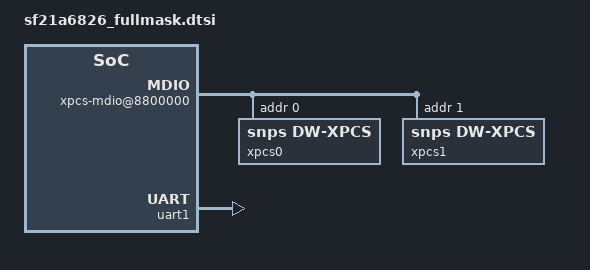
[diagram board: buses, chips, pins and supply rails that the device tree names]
// SPDX-License-Identifier: GPL-2.0
#include <dt-bindings/gpio/gpio.h>
#include <dt-bindings/pinctrl/sf21h8898-fullmask-iomux.h>

/ {
	compatible = "siflower,sf21a6826";
	#address-cells = <2>;
	#size-cells = <2>;

	aliases {
		serial0 = &uart0;
		serial1 = &uart1;
	};

	chosen {
		stdout-path = "serial1:115200n8";
	};


	cpus: cpus {
		#address-cells = <1>;
		#size-cells = <0>;
		timebase-frequency = <1125000000>;

		cpu@0 {
			compatible = "thead,c908", "riscv";
			device_type = "cpu";
			riscv,isa = "rv64imafdc_svpbmt_zba_zbb_zbc_zbs_zicbom_zicbop_zicboz";
			riscv,isa-base = "rv64i";
			riscv,isa-extensions = "i", "m", "a", "f", "d", "c",
						"sstc", "svnapot", "svpbmt", "zba", "zbb", "zbc", "zbs", "zicbom", "zicbop", "zicboz", "zicntr", "zicsr", "zifencei", "zihintpause", "zihpm";
			reg = <0>;
			i-cache-block-size = <64>;
			i-cache-size = <32768>;
			i-cache-sets = <128>;
			d-cache-block-size = <64>;
			d-cache-size = <32768>;
			d-cache-sets = <128>;
			next-level-cache = <&L2>;
			mmu-type = "riscv,sv39";

			cpu0_intc: interrupt-controller {
				#interrupt-cells = <1>;
				compatible = "riscv,cpu-intc";
				interrupt-controller;
			};
		};

		cpu@1 {
			compatible = "thead,c908", "riscv";
			device_type = "cpu";
			riscv,isa = "rv64imafdc_svpbmt_zba_zbb_zbc_zbs_zicbom_zicbop_zicboz";
			riscv,isa-base = "rv64i";
			riscv,isa-extensions = "i", "m", "a", "f", "d", "c",
						"sstc", "svnapot", "svpbmt", "zba", "zbb", "zbc", "zbs", "zicbom", "zicbop", "zicboz", "zicntr", "zicsr", "zifencei", "zihintpause", "zihpm";
			reg = <1>;
			i-cache-block-size = <64>;
			i-cache-size = <32768>;
			i-cache-sets = <128>;
			d-cache-block-size = <64>;
			d-cache-size = <32768>;
			d-cache-sets = <128>;
			next-level-cache = <&L2>;
			mmu-type = "riscv,sv39";

			cpu1_intc: interrupt-controller {
				#interrupt-cells = <1>;
				compatible = "riscv,cpu-intc";
				interrupt-controller;
			};
		};

		cpu@2 {
			compatible = "thead,c908", "riscv";
			device_type = "cpu";
			riscv,isa = "rv64imafdc_svpbmt_zba_zbb_zbc_zbs_zicbom_zicbop_zicboz";
			riscv,isa-base = "rv64i";
			riscv,isa-extensions = "i", "m", "a", "f", "d", "c",
						"sstc", "svnapot", "svpbmt", "zba", "zbb", "zbc", "zbs", "zicbom", "zicbop", "zicboz", "zicntr", "zicsr", "zifencei", "zihintpause", "zihpm";
			reg = <2>;
			i-cache-block-size = <64>;
			i-cache-size = <32768>;
			i-cache-sets = <128>;
			d-cache-block-size = <64>;
			d-cache-size = <32768>;
			d-cache-sets = <128>;
			next-level-cache = <&L2>;
			mmu-type = "riscv,sv39";

			cpu2_intc: interrupt-controller {
				#interrupt-cells = <1>;
				compatible = "riscv,cpu-intc";
				interrupt-controller;
			};
		};

		cpu@3 {
			compatible = "thead,c908", "riscv";
			device_type = "cpu";
			riscv,isa = "rv64imafdc_svpbmt_zba_zbb_zbc_zbs_zicbom_zicbop_zicboz";
			riscv,isa-base = "rv64i";
			riscv,isa-extensions = "i", "m", "a", "f", "d", "c",
						"sstc", "svnapot", "svpbmt", "zba", "zbb", "zbc", "zbs", "zicbom", "zicbop", "zicboz", "zicntr", "zicsr", "zifencei", "zihintpause", "zihpm";
			reg = <3>;
			i-cache-block-size = <64>;
			i-cache-size = <32768>;
			i-cache-sets = <128>;
			d-cache-block-size = <64>;
			d-cache-size = <32768>;
			d-cache-sets = <128>;
			next-level-cache = <&L2>;
			mmu-type = "riscv,sv39";

			cpu3_intc: interrupt-controller {
				#interrupt-cells = <1>;
				compatible = "riscv,cpu-intc";
				interrupt-controller;
			};
		};

		L2: l2-cache {
			compatible = "cache";
			cache-level = <2>;
			cache-block-size = <64>;
			cache-size = <262144>;
			cache-sets = <256>;
			cache-unified;
		};
	};

	pmu {
		compatible = "riscv,pmu";
		riscv,event-to-mhpmevent =
			<0x00003 0x0 0x9b>, // L1 Dcache Access
			<0x00004 0x0 0x9c>, // L1 Dcache Miss
			<0x00005 0x0 0x36>, // Branch Instruction
			<0x00006 0x0 0x38>, // Branch Mispred
			<0x00008 0x0 0x27>, // Stalled Cycles Frontend
			<0x00009 0x0 0x28>, // Stalled Cycles Backend
			<0x10000 0x0 0x0c>, // L1-dcache load access
			<0x10001 0x0 0x0d>, // L1-dcache load miss
			<0x10002 0x0 0x0e>, // L1-dcache store access
			<0x10003 0x0 0x0f>, // L1-dcache store miss
			<0x10004 0x0 0xa2>, // Dcache Hit Caused by Prefetch
			<0x10005 0x0 0xa1>, // Dcache Refill Caused by Prefetch
			<0x10008 0x0 0x01>, // L1-icache Access
			<0x10009 0x0 0x02>, // L1-icache Miss
			<0x1000c 0x0 0x9e>, // Icache Prefetch
			<0x1000d 0x0 0xa0>, // Icache Prefetch Miss
			<0x10010 0x0 0xa5>, // L2 Access
			<0x10011 0x0 0xa6>, // L2 Miss
			<0x10019 0x0 0xa4>, // Load Dtlb Miss
			<0x1001b 0x0 0xa3>, // Store Dtlb Miss
			<0x10021 0x0 0x03>; // iTLB Miss
		riscv,event-to-mhpmcounters =
			<0x00001 0x00001 0x00000001>, // cycles
			<0x00002 0x00002 0x00000004>, // instructions
			<0x00003 0x1ffff 0xfffffff8>; // others
		riscv,raw-event-to-mhpmcounters =
			<0x0 0x0 0xffffffff 0xffffff00 0xfffffff8>;
	};

	cpuapb {
		#address-cells = <2>;
		#size-cells = <2>;
		compatible = "simple-bus";
		ranges;

		plic: interrupt-controller@108000000 {
			compatible = "thead,c900-plic";
			reg = <0x1 0x8000000 0x0 0x400000>, <0x0 0x0ce00c34 0x0 0x20>;
			interrupt-controller;
			interrupts-extended = <&cpu0_intc 11>, <&cpu0_intc 9>,
					      <&cpu1_intc 11>, <&cpu1_intc 9>,
					      <&cpu2_intc 11>, <&cpu2_intc 9>,
					      <&cpu3_intc 11>, <&cpu3_intc 9>;
			#interrupt-cells = <2>;
			riscv,ndev = <176>;
		};

		interrupt-controller@10c000000 {
			compatible = "thead,c900-aclint-mswi";
			reg = <0x1 0xc000000 0x0 0x4000>;
			interrupts-extended = <&cpu0_intc 3>, <&cpu1_intc 3>,
					      <&cpu2_intc 3>, <&cpu3_intc 3>;
		};

		timer@10c004000 {
			compatible = "thead,c900-aclint-mtimer";
			reg = <0x1 0xc00bff8 0x0 0x8>, <0x1 0xc004000 0x0 0x7ff8>;
			interrupts-extended = <&cpu0_intc 7>, <&cpu1_intc 7>,
					      <&cpu2_intc 7>, <&cpu3_intc 7>;
		};

		interrupt-controller@10c00c000 {
			compatible = "thead,c900-aclint-sswi";
			reg = <0x1 0xc00c000 0x0 0x1000>;
			interrupts-extended = <&cpu0_intc 1>, <&cpu1_intc 1>,
					      <&cpu2_intc 1>, <&cpu3_intc 1>;
		};
	};

	spi_clk: spi-clk {
		compatible = "fixed-clock";
		#clock-cells = <0>;
		clock-frequency = <200000000>;
	};

	apb_clk: apb-clk {
		compatible = "fixed-clock";
		#clock-cells = <0>;
		clock-frequency = <187500000>;
	};


	timer: timer {
		compatible = "riscv,timer";
	};

	soc: soc {
		compatible = "simple-bus";
		#address-cells = <2>;
		#size-cells = <2>;
		u-boot,dm-pre-reloc;

		gmac0: ethernet@8000000 {
			compatible = "siflower,sf21h8898-xgmac";
			reg = <0x0 0x8000000 0x0 0x4000>;
			phy-mode = "qsgmii";
			pcs-handle = <&xpcs0>;
			pinctrl-names = "default";
			pinctrl-0 = <&mac0_mdio_pins>;
			dmas = <&edma 0>, <&edma 1>;
			status = "disabled";

			mdio0: mdio {
				#address-cells = <1>;
				#size-cells = <0>;
			};
		};

		gmac1: ethernet@8004000 {
			compatible = "siflower,sf21h8898-xgmac";
			reg = <0x0 0x8004000 0x0 0x4000>;
			phy-mode = "qsgmii";
			pcs-handle = <&xpcs0>;
			dmas = <&edma 0>, <&edma 1>;
			status = "disabled";
		};

		gmac2: ethernet@8008000 {
			compatible = "siflower,sf21h8898-xgmac";
			reg = <0x0 0x8008000 0x0 0x4000>;
			phy-mode = "qsgmii";
			pcs-handle = <&xpcs0>;
			dmas = <&edma 0>, <&edma 1>;
			status = "disabled";
		};

		gmac3: ethernet@800c000 {
			compatible = "siflower,sf21h8898-xgmac";
			reg = <0x0 0x800c000 0x0 0x4000>;
			phy-mode = "qsgmii";
			pcs-handle = <&xpcs0>;
			dmas = <&edma 0>, <&edma 1>;
			status = "disabled";
		};

		gmac4: ethernet@8010000 {
			compatible = "siflower,sf21h8898-xgmac";
			reg = <0x0 0x8010000 0x0 0x4000>;
			phy-mode = "2500base-x";
			pcs-handle = <&xpcs1>;
			pinctrl-names = "default";
			pinctrl-0 = <&mac4_mdio_pins>;
			dmas = <&edma 0>, <&edma 1>;
			status = "disabled";

			mdio1: mdio {
				#address-cells = <1>;
				#size-cells = <0>;
			};
		};

		gmac5: ethernet@8014000 {
			compatible = "siflower,sf21h8898-xgmac";
			reg = <0x0 0x8014000 0x0 0x4000>;
			phy-mode = "rgmii";
			pinctrl-names = "default";
			pinctrl-0 = <&rgmii_pins>;
			dmas = <&edma 0>, <&edma 1>;
			status = "disabled";
		};

		edma: dma-controller@8018000 {
			compatible = "siflower,sf21h8898-xgmac-dma";
			reg = <0x0 0x8018000 0x0 0x4000>;
			#dma-cells = <1>;
			dma-channels = <2>;
		};

		xpcs-mdio@8800000 {
			compatible = "siflower,sf21h8898-xpcs-mdio";
			reg = <0x0 0x8800000 0x0 0x1000000>;
			#address-cells = <1>;
			#size-cells = <0>;

			xpcs0: xpcs@0 {
				compatible = "snps,dw-xpcs";
				reg = <0x0>;
				// mode: 1 for qsgmii, 2 for sgmii, 3 for usxgmii
				mode = <0x1>;
			};

			xpcs1: xpcs@1 {
				compatible = "snps,dw-xpcs";
				reg = <0x1>;
				// mode: 1 for qsgmii, 2 for sgmii, 3 for usxgmii
				mode = <0x2>;
			};
		};


		spi0: spi@c200000 {
			compatible = "siflower,sf-exspi";
			reg = <0x0 0xc200000 0x0 0x1000>;
			clocks = <&spi_clk>;
			pinctrl-names = "default";
			pinctrl-0 = <&spi0_pins>;
			status = "disabled";
			#address-cells = <1>;
			#size-cells = <0>;
		};

		i2c0: i2c@c100000 {
			compatible = "snps,designware-i2c";
			reg = <0x0 0xc100000 0x0 0x1000>;
			clocks = <&apb_clk>;
			clock-frequency = <400000>;
			pinctrl-0 = <&i2c0_pins>;
			pinctrl-names = "default";
			status = "disabled";
			#address-cells = <1>;
			#size-cells = <0>;
		};

		i2c1: i2c@c101000 {
			compatible = "snps,designware-i2c";
			reg = <0x0 0xc101000 0x0 0x1000>, <0x0 0x0ce08400 0x0 0x10>;
			clocks = <&apb_clk>;
			clock-frequency = <400000>;
			pinctrl-0 = <&i2c1_pins>;
			pinctrl-names="default";
			status = "disabled";
			#address-cells = <1>;
			#size-cells = <0>;
		};

		uart0: serial@c300000 {
			compatible = "arm,pl011";
			reg = <0x0 0xc300000 0x0 0x1000>;
			pinctrl-names = "default";
			pinctrl-0 = <&uart0_pins>;
			status = "disabled";
		};

		uart1: serial@c301000 {
			compatible = "arm,pl011";
			reg = <0x0 0xc301000 0x0 0x1000>;
			pinctrl-names = "default";
			pinctrl-0 = <&uart1_pins>;
		};

		watchdog: watchdog@0c700000 {
			compatible = "snps,dw-wdt";
			reg = <0x0 0x0c700000 0x0 0x1000>;
			clocks = <&apb_clk>;
			status = "disabled";
		};

		timer0: timer0@0c600000 {
			compatible = "snps,dw-apb-timer";
			reg = <0x0 0x0c600000 0x0 0x1000>;
			clocks = <&apb_clk>;
			clock-names = "timer";
			status = "disabled";
		};

		timer1: timer1@0c601000 {
			compatible = "snps,dw-apb-timer";
			reg = <0x0 0x0c601000 0x0 0x1000>;
			clocks = <&apb_clk>;
			clock-names = "timer";
			status = "disabled";
		};

		gpio: gpio@c800000 {
			compatible = "siflower,sfax8-gpio";
			reg = <0x0 0xc800000 0x0 0x100000>;

			gpio-controller;
			#gpio-cells = <2>;

			ngpios = <41>;
			gpio-ranges = <&iomux 0 0 41>;
		};

		syscon@ce00000 {
			compatible = "siflower,brom-sysm";
			reg = <0x0 0xce00000 0x0 0x400>;
			#reset-cells = <1>;
		};

		syscon@ce00c00 {
			compatible = "siflower,cpu-sysm";
			reg = <0x0 0xce00c00 0x0 0x400>;
		};

		iomux: iomux@ce3c000 {
			compatible = "pinctrl-single";
			reg = <0x0 0xce3c000 0x0 0xa4>;
			#address-cells = <1>;
			#size-cells = <1>;
			#pinctrl-cells = <1>;

			pinctrl-single,register-width = <32>;
			pinctrl-single,function-mask = <FUNC_MODE_MASK>;
			pinctrl-single,gpio-range = <&range 0 41 GPIO_MODE>;

			range: gpio-range {
				#pinctrl-single,gpio-range-cells = <3>;
			};

			clk_pins: clk_pins {
				pinctrl-single,pins = <
					EXT_CLK_IN	FUNC_MODE0
					CLK_OUT		FUNC_MODE0
				>;
			};

			spi0_pins: spi0_pins {
				pinctrl-single,pins = <
					SPI0_TXD	FUNC_MODE0
					SPI0_RXD	FUNC_MODE0
					SPI0_CLK	FUNC_MODE0
					SPI0_CSN	FUNC_MODE0
					SPI0_HOLD	FUNC_MODE0
					SPI0_WP		FUNC_MODE0
				>;
			};

			jtag_pins: jtag_pins {
				pinctrl-single,pins = <
					JTAG_TDO	FUNC_MODE0
					JTAG_TDI	FUNC_MODE0
					JTAG_TMS	FUNC_MODE0
					JTAG_TCK	FUNC_MODE0
					JTAG_RST	FUNC_MODE0
				>;
			};

			uart0_pins: uart0_pins {
				pinctrl-single,pins = <
					JTAG_TDO	FUNC_MODE1
					JTAG_TDI	FUNC_MODE1
					JTAG_TMS	FUNC_MODE1
					JTAG_TCK	FUNC_MODE1
				>;
			};

			uart1_pins: uart1_pins {
				pinctrl-single,pins = <
					UART1_TX	FUNC_MODE0
					UART1_RX	FUNC_MODE0
				>;
			};

			uart1_full_pins: uart1_full_pins {
				pinctrl-single,pins = <
					UART1_TX	FUNC_MODE0
					UART1_RX	FUNC_MODE0
					I2C0_DAT	FUNC_MODE1
					I2C0_CLK	FUNC_MODE1
				>;
			};

			i2c0_pins: i2c0_pins {
				pinctrl-single,pins = <
					I2C0_DAT	FUNC_MODE0
					I2C0_CLK	FUNC_MODE0
				>;
			};

			perst_pins: perst_pins {
				pinctrl-single,pins = <
					I2C0_DAT	FUNC_MODE2
					I2C0_CLK	FUNC_MODE2
				>;
			};

			i2c1_pins: i2c1_pins {
				pinctrl-single,pins = <
					I2C1_DAT	FUNC_MODE0
					I2C1_CLK	FUNC_MODE0
				>;
			};

			pwm_pins: pwm_pins {
				pinctrl-single,pins = <
					PWM0		FUNC_MODE0
					PWM1		FUNC_MODE0
				>;
			};

			rgmii_pins: rgmii_pins {
				pinctrl-single,pins = <
					RGMII_GTX_CLK	FUNC_MODE0
				//	RGMII_TXCLK	FUNC_MODE0
					RGMII_TXD0	FUNC_MODE0
					RGMII_TXD1	FUNC_MODE0
					RGMII_TXD2	FUNC_MODE0
					RGMII_TXD3	FUNC_MODE0
					RGMII_TXCTL	FUNC_MODE0
					RGMII_RXCLK	FUNC_MODE0
					RGMII_RXD0	FUNC_MODE0
					RGMII_RXD1	FUNC_MODE0
					RGMII_RXD2	FUNC_MODE0
					RGMII_RXD3	FUNC_MODE0
					RGMII_RXCTL	FUNC_MODE0
				>;
			};

			spi1_pins: spi1_pins {
				pinctrl-single,pins = <
					RGMII_GTX_CLK	FUNC_MODE1
					RGMII_TXCLK	FUNC_MODE1
					RGMII_TXD0	FUNC_MODE1
				/*	RGMII_TXD1	FUNC_MODE1	*/
					RGMII_TXD2	FUNC_MODE1
					RGMII_TXD3	FUNC_MODE1
				>;
			};

			mac0_mdio_pins: mac0_mdio_pins {
				pinctrl-single,pins = <
					QSGMII_MDIO	FUNC_MODE0
					QSGMII_MDC	FUNC_MODE0
				>;
			};

			mac4_mdio_pins: mac4_mdio_pins {
				pinctrl-single,pins = <
					SXGMII_MDIO	FUNC_MODE0
					SXGMII_MDC	FUNC_MODE0
				>;
			};
		};
	};
};
